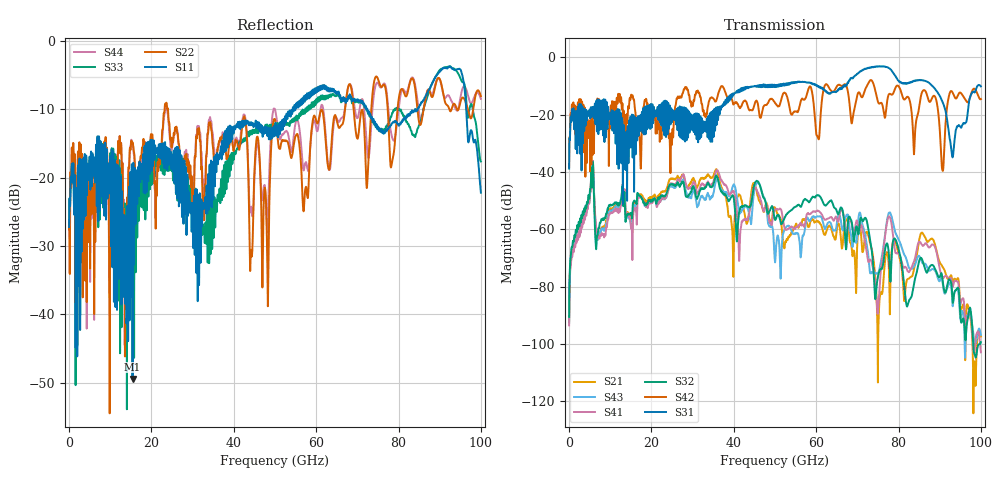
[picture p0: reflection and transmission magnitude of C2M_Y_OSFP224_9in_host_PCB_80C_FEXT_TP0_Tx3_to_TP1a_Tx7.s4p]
# GHz S RI R 45
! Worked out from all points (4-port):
!   4000 points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, 25 MHz to 100 GHz, reference 45 ohm
!   strongest paths, dB at 25 MHz, 25.02 GHz, 50.02 GHz, 75.03 GHz, 100 GHz:
!     S31: -38.8, -22.3, -10.4, -3.3, -10.2
!     S42: -38.3, -28.8, -16.0, -15.6, -14.6
!     S32: -90.5, -44.3, -56.7, -76.3, -99.3
!     S41: -93.5, -44.0, -53.1, -88.5, -102.9
!     S43: -92.6, -45.1, -71.5, -75.1, -96.8
!     S21: -92.0, -42.3, -52.5, -104.0, -97.4
!   lowest |S11| = -49.5 dB at 15.43 GHz (marker M1), VSWR 1.01, Z = 45.2 + j0.179 ohm
!   |S11| at or under -10 dB: start of sweep to 54.29 GHz; 72.43 GHz to 83.98 GHz (11.55 GHz wide, 14.8 % of centre); 96.43 GHz to end of sweep (the widest 3 of 7)
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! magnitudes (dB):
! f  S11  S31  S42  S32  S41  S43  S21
! 25 MHz  -27.2  -38.8  -38.3  -90.5  -93.5  -92.6  -92.0
! 5.575 GHz  -19.8  -18.6  -21.1  -43.0  -43.0  -43.0  -42.9
! 15.43 GHz  -49.5  -30.3  -13.3  -52.7  -64.6  -57.1  -57.0
! 36 GHz  -16.7  -17.4  -14.0  -41.8  -39.4  -42.3  -39.7
! 76.7 GHz  -13.4  -3.2  -21.1  -67.4  -62.8  -62.3  -71.4
! 93.08 GHz  -4.1  -34.8  -12.2  -83.8  -79.8  -85.6  -78.4
! 100 GHz  -22.2  -10.2  -14.6  -99.3  -102.9  -96.8  -97.4
